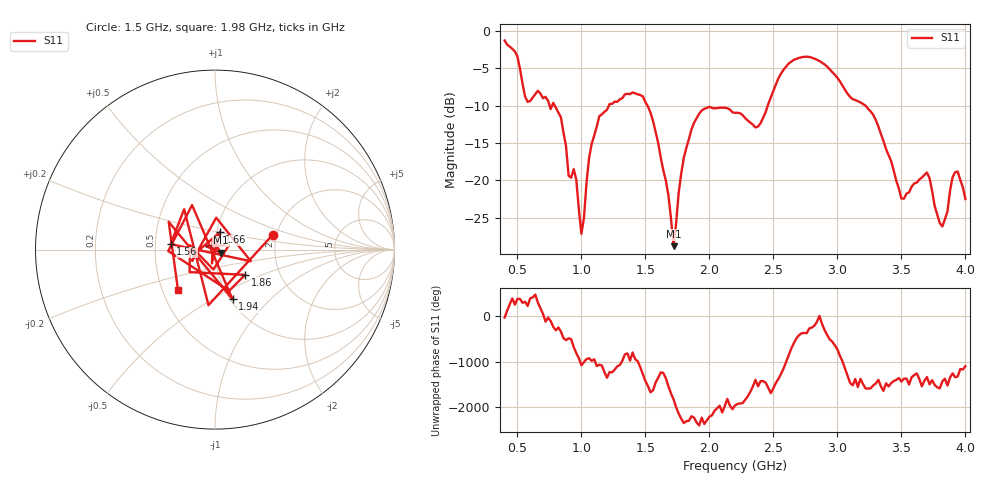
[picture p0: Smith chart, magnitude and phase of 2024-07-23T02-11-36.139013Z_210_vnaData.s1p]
!Created with skrf (http://scikit-rf.org).
# Hz S RI R 50.0
!freq ReS11 ImS11
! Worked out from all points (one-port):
!   181 points, 400 MHz to 4 GHz, reference 50 ohm
!   lowest |S11| = -28.8 dB at 1.72 GHz (marker M1), VSWR 1.08, Z = 53.3 - j1.83 ohm
!   |S11| at or under -10 dB: 791.4 MHz to 1.215 GHz (423.2 MHz wide, 42.2 % of centre); 1.516 GHz to 2.456 GHz (939.9 MHz wide, 47.3 % of centre); 3.219 GHz to end of sweep (the widest 3 of 4)
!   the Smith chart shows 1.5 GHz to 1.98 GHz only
!   S11 on the Smith chart (normalised r, x): 1.5 GHz: 1.91, +0.36; 1.56 GHz: 0.60, +0.04; 1.66 GHz: 1.03, +0.20; 1.86 GHz: 1.34, -0.40; 1.94 GHz: 1.03, -0.62; 1.98 GHz: 0.60, -0.30
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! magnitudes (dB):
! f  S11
! 400 MHz  -1.3
! 580 MHz  -9.5
! 780 MHz  -9.6
! 860 MHz  -13.6
! 900 MHz  -19.4
! 960 MHz  -19.9
! 1 GHz  -27.1
! 1.06 GHz  -17.0
! 1.14 GHz  -11.4
! 1.3 GHz  -9.2
! 1.5 GHz  -9.5
! 1.56 GHz  -12.1
! 1.66 GHz  -20.0
! 1.72 GHz  -28.8
! 1.76 GHz  -21.7
! 1.86 GHz  -13.2
! 1.94 GHz  -10.7
! 1.98 GHz  -10.3
! 2.2 GHz  -11.0
! 2.38 GHz  -12.8
! 2.66 GHz  -3.9
! 3.1 GHz  -8.9
! 3.28 GHz  -11.2
! 3.56 GHz  -21.6
! 3.7 GHz  -19.0
! 3.82 GHz  -26.2
! 3.92 GHz  -18.9
! 4 GHz  -22.5
